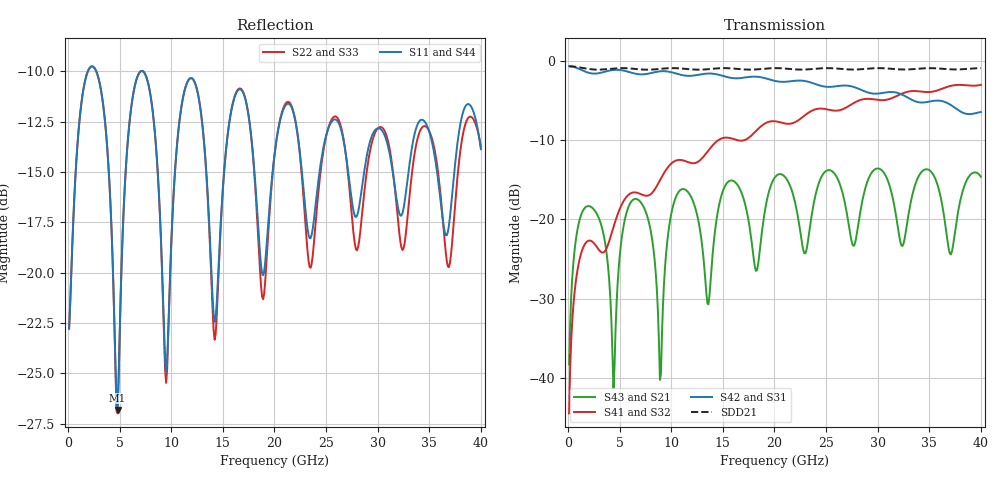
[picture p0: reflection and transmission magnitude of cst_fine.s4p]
! T_ts6_diff_ms: Edge-coupled microstrip pair L1, w 0.127 / s 0.127 mm (ThunderScope default), 20 mm
! stackup: ThunderScope Rev5.3 6-layer (FR408HR / FR-4, from the board file)
! ports: 1 near A, 2 near B, 3 far A, 4 far B
! CST Studio Suite 2025.5 Release from 2025-05-30, time domain (FIT, hexahedral, PBA), 390456 mesh cells, 106 s
! mesh: {'lpw': 30.0, 'lpb': 30.0, 'minstep': 0.0, 'ratio': 20}; ports: port 1 (face); port 2 (face); port 3 (face); port 4 (face)
! interpolated from CST's 1001 samples to the case grid
# Hz S RI R 50
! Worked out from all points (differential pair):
!   400 points, 100 MHz to 40 GHz, reference 50 ohm
!   strongest paths, dB at 100 MHz, 10.1 GHz, 20.1 GHz, 30.1 GHz, 40 GHz:
!     S42: -0.7, -1.5, -2.5, -4.1, -6.4
!     S31: -0.7, -1.5, -2.5, -4.1, -6.5
!     S41: -44.5, -12.8, -7.6, -4.9, -3.0
!     S32: -44.4, -12.8, -7.6, -4.9, -3.0
!     S43: -38.3, -18.7, -14.6, -13.6, -14.6
!     S21: -38.3, -18.7, -14.6, -13.6, -14.6
!   taken as a pair (ports 2,1 in; 4,3 out), SDD21 dB: -0.7, -0.9, -0.9, -0.9, -0.9
!   lowest |S11| = -26.8 dB at 4.8 GHz (marker M1), VSWR 1.10, Z = 54.6 + j1.28 ohm
!   |S11| at or under -10 dB: start of sweep to 1.905 GHz; 2.739 GHz to 7.008 GHz (4.268 GHz wide, 87.6 % of centre); 7.285 GHz to end of sweep
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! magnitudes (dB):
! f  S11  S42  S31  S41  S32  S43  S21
! 100 MHz  -22.8  -0.7  -0.7  -44.5  -44.4  -38.3  -38.3
! 1.5 GHz  -10.8  -1.3  -1.3  -23.4  -23.4  -18.8  -18.8
! 4.8 GHz  -26.8  -1.1  -1.1  -19.4  -19.4  -28.1  -28.1
! 7 GHz  -10.0  -1.7  -1.7  -16.8  -16.8  -17.8  -17.8
! 8.9 GHz  -17.1  -1.3  -1.3  -15.1  -15.1  -40.3  -40.3
! 10.9 GHz  -12.0  -1.7  -1.7  -12.5  -12.5  -16.3  -16.3
! 40 GHz  -13.9  -6.4  -6.5  -3.0  -3.0  -14.6  -14.6
